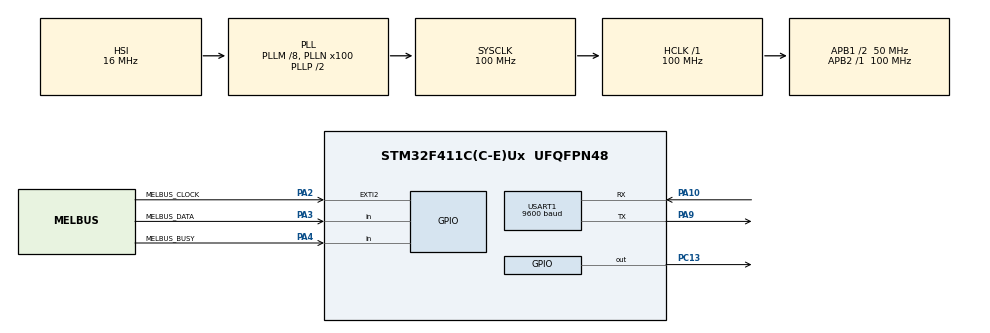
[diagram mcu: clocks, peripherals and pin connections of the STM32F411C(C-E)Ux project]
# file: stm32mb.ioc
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Dma.Request0=USART1_RX
Dma.Request1=USART1_TX
Dma.USART1_RX.0.Direction=DMA_PERIPH_TO_MEMORY
Dma.USART1_RX.0.FIFOMode=DMA_FIFOMODE_DISABLE
Dma.USART1_RX.0.Instance=DMA2_Stream2
Dma.USART1_RX.0.MemDataAlignment=DMA_MDATAALIGN_BYTE
Dma.USART1_RX.0.MemInc=DMA_MINC_ENABLE
Dma.USART1_RX.0.Mode=DMA_NORMAL
Dma.USART1_RX.0.PeriphDataAlignment=DMA_PDATAALIGN_BYTE
Dma.USART1_RX.0.PeriphInc=DMA_PINC_DISABLE
Dma.USART1_RX.0.Priority=DMA_PRIORITY_LOW
Dma.USART1_TX.1.Direction=DMA_MEMORY_TO_PERIPH
Dma.USART1_TX.1.FIFOMode=DMA_FIFOMODE_DISABLE
Dma.USART1_TX.1.Instance=DMA2_Stream7
Dma.USART1_TX.1.MemDataAlignment=DMA_MDATAALIGN_BYTE
Dma.USART1_TX.1.MemInc=DMA_MINC_ENABLE
Dma.USART1_TX.1.Mode=DMA_NORMAL
Dma.USART1_TX.1.PeriphDataAlignment=DMA_PDATAALIGN_BYTE
Dma.USART1_TX.1.PeriphInc=DMA_PINC_DISABLE
Dma.USART1_TX.1.Priority=DMA_PRIORITY_LOW
Mcu.Family=STM32F4
Mcu.Name=STM32F411C(C-E)Ux
Mcu.Package=UFQFPN48
NVIC.DMA2_Stream2_IRQn=true\:0\:0\:false\:false\:true\:false\:true\:true
NVIC.DMA2_Stream7_IRQn=true\:0\:0\:false\:false\:true\:false\:true\:true
NVIC.EXTI2_IRQn=true\:3\:0\:true\:true\:true\:1\:true\:true\:true
NVIC.PriorityGroup=NVIC_PRIORITYGROUP_4
NVIC.USART1_IRQn=true\:0\:0\:false\:false\:true\:true\:true\:true
PA10.Mode=Asynchronous
PA10.Signal=USART1_RX
PA13.Mode=Serial_Wire
PA13.Signal=SYS_JTMS-SWDIO
PA14.Mode=Serial_Wire
PA14.Signal=SYS_JTCK-SWCLK
PA2.GPIO_Label=MELBUS_CLOCK
PA2.GPIO_PuPd=GPIO_PULLUP
PA2.Signal=GPXTI2
PA3.GPIO_Label=MELBUS_DATA
PA3.GPIO_PuPd=GPIO_PULLUP
PA3.Signal=GPIO_Input
PA4.GPIO_Label=MELBUS_BUSY
PA4.GPIO_PuPd=GPIO_PULLUP
PA4.Signal=GPIO_Input
PA9.Mode=Asynchronous
PA9.Signal=USART1_TX
PB3.Signal=SYS_JTDO-SWO
PC13-ANTI_TAMP.GPIO_PuPd=GPIO_NOPULL
PC13-ANTI_TAMP.PinState=GPIO_PIN_SET
PC13-ANTI_TAMP.Signal=GPIO_Output
ProjectManager.HeapSize=0x200
ProjectManager.StackSize=0x400
ProjectManager.TargetToolchain=STM32CubeIDE
RCC.48MHZClocksFreq_Value=50000000
RCC.AHBFreq_Value=100000000
RCC.APB1CLKDivider=RCC_HCLK_DIV2
RCC.APB1Freq_Value=50000000
RCC.APB1TimFreq_Value=100000000
RCC.APB2Freq_Value=100000000
RCC.APB2TimFreq_Value=100000000
RCC.CortexFreq_Value=100000000
RCC.HCLKFreq_Value=100000000
RCC.HSE_VALUE=25000000
RCC.HSI_VALUE=16000000
RCC.LSE_VALUE=32768
RCC.PLLM=8
RCC.PLLN=100
RCC.SYSCLKFreq_VALUE=100000000
RCC.SYSCLKSource=RCC_SYSCLKSOURCE_PLLCLK
RCC.VCOOutputFreq_Value=200000000
USART1.BaudRate=9600
USART1.VirtualMode=VM_ASYNC
board=custom

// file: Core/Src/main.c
/* USER CODE BEGIN Header */
/**
 ******************************************************************************
 * @file           : main.c
 * @brief          : Main program body
 ******************************************************************************
 * @attention
 *
 * Copyright (c) 2023 STMicroelectronics.
 * All rights reserved.
 *
 * This software is licensed under terms that can be found in the LICENSE file
 * in the root directory of this software component.
 * If no LICENSE file comes with this software, it is provided AS-IS.
 *
 ******************************************************************************
 */
/* USER CODE END Header */
#include "main.h"

/* USER CODE BEGIN Includes */
#include "master.h"
#include "pins.h"
#include "delay.h"
#include "slave.h"
#include <string.h>
/* USER CODE END Includes */

UART_HandleTypeDef huart1;
DMA_HandleTypeDef hdma_usart1_rx;
DMA_HandleTypeDef hdma_usart1_tx;

void SystemClock_Config(void);
static void MX_GPIO_Init(void);
static void MX_DMA_Init(void);
static void MX_USART1_UART_Init(void);
static void MX_NVIC_Init(void);
/* USER CODE BEGIN PFP */
void fixText(char text[17], const char *input);
static uint8_t nextTrack(void);
static uint8_t prevTrack(void);
/* USER CODE END PFP */

/* USER CODE BEGIN 0 */
static uint8_t rx_buf[5];
static volatile bool bt_ok = false;
static volatile bool bt_powered = false;
static volatile bool bt_playing = false;
static volatile bool bt_connected = false;
static volatile byte melbus_ReceivedByte = 0;
static volatile byte melbus_Bitposition = 7;
static volatile bool byteIsRead = false;

enum {
	E_MRB_1,  // 0
	E_MI,     // 1
	E_SI,     // 2
	E_MRB_2,  // 3
	E_IGN_OFF, // 4
	E_MD_CIR, // 5
	E_MD_TIR, // 6
	E_MD_NXT, // 7
	E_MD_PRV, // 8
	E_MD_CHG, // 9
	E_MD_PUP, // 10
	E_MD_PDN, // 11
	E_MD_FFW, // 12
	E_MD_FRW, // 13
	E_MD_SCN, // 14
	E_MD_RND, // 15
	E_MD_NU,  // 16
	E_MD_RTR, // 17
	E_MD_RTR_2, // 18
	E_MD_RTR_3, // 19
	E_CDC_CIR, // 20
	E_CDC_TIR, // 21
	E_CDC_NXT, // 22
	E_CDC_PRV, // 23
	E_CDC_CHG, // 24
	E_CDC_PUP, // 25
	E_CDC_PDN, // 26
	E_CDC_FFW, // 27
	E_CDC_FRW, // 28
	E_CDC_SCN, // 29
	E_CDC_RND, // 30
	E_CDC_NU,  // 31
	E_LIST_MAX // handy entry which signifies the size of the command array
};
//This list can be quite long. We have approx 700 us between the received bytes.
const byte commands[E_LIST_MAX][8] = { [E_MRB_1] = MRB_1, // 0 now we are master and can send stuff (like text) to the display!
[E_MI] = MI,     // 1 main init
[E_SI] = SI,     // 2 sec init (00 1E ED respond 0xC5 !!)
[E_MRB_2] = MRB_2,  // 3 alternative master req bc
[E_IGN_OFF] = IGN_OFF, // 4
[E_MD_CIR] = MD_CIR, // 5
[E_MD_TIR] = MD_TIR, // 6
[E_MD_NXT] = MD_NXT, // 7
[E_MD_PRV] = MD_PRV, // 8
[E_MD_CHG] = MD_CHG, // 9
[E_MD_PUP] = MD_PUP, // 10
[E_MD_PDN] = MD_PDN, // 11
[E_MD_FFW] = MD_FFW, // 12
[E_MD_FRW] = MD_FRW, // 13
[E_MD_SCN] = MD_SCN, // 14
[E_MD_RND] = MD_RND, // 15
[E_MD_NU] = MD_NU,   // 16
[E_MD_RTR] = MD_RTR, // 17
[E_MD_RTR_2] = MD_RTR_2, // 18
[E_MD_RTR_3] = MD_RTR_3, // 19
[E_CDC_CIR] = CDC_CIR, // 20
[E_CDC_TIR] = CDC_TIR, // 21
[E_CDC_NXT] = CDC_NXT, // 22
[E_CDC_PRV] = CDC_PRV, // 23
[E_CDC_CHG] = CDC_CHG, // 24
[E_CDC_PUP] = CDC_PUP, // 25
[E_CDC_PDN] = CDC_PDN, // 26
[E_CDC_FFW] = CDC_FFW, // 27
[E_CDC_FRW] = CDC_FRW, // 28
[E_CDC_SCN] = CDC_SCN, // 29
[E_CDC_RND] = CDC_RND, // 30
[E_CDC_NU] = CDC_NU   // 31
		};

int __io_putchar(int ch) {
	// Write character to ITM ch.0
	ITM_SendChar(ch);
	return (ch);
}

/* USER CODE END 0 */

int main(void) {
	/* USER CODE BEGIN 1 */
	byte lastByte = 0;
	bool powerOn = true;
	long HWTicks = 0;      //age since last BUSY switch
	long ComTicks = 0;     //age since last received byte
	long ConnTicks = 0;    //age since last message to SIRIUS SAT
	long timeout = 1000000; //should be around 10-20 seconds
	long runOnce = 300000; //counts down on every received message from HU. Triggers when it is passing 1.
	long runPeriodically = 100000; //same as runOnce but resets after each countdown.
	byte matching[E_LIST_MAX]; //Keep track of every matching byte in the commands array
	byte tircount = 0;
	byte track = 1;
	byte md = 0;
	byte cd = 1;
	byte mdTrackInfo[] =
			{ 0x00, 0x02, 0x00, 0x00, 0x80, 0x99, 0x0C, 0xCC, 0xCC };
	byte mdCartridgeInfo[] = { 0x80, 0x00, 0x0F, 0x04, 0x00, 0x0F };
	byte cdcTrackInfo[] =
			{ 0x00, 0x02, 0x00, 0x01, 0x80, 0x01, 0xC7, 0x0A, 0x02 };
	byte cdcCartridgeInfo[] = { 0x00, 0xFC, 0xFF, 0x4A, 0xFC, 0xFF };
	bool textInit = false; // First MRB2 is to initialise sending text
	byte textHeader[] = { 0xFB, 0xD8, 0xFA, 0x00 }; // Send this as prefix to text
	byte textInitHeader[] = { 0xF9, 0xD8, 0xE1, 0x68, 0x00, 0x00, 0x40, 0x00,
			0x0C, 0xCC, 0xCC }; // Send this as reply to first MRB2
	bool reqMasterFlag = false; //set this to request master mode (and sendtext) at a proper time.
	union text_cmd text = { .raw = { 0 } };
	char row1[17];
	char row2[17];
	char row3[17];
	byte received = 0x0;
	byte rows = 0;
	/* USER CODE END 1 */

	/* MCU Configuration--------------------------------------------------------*/

	/* Reset of all peripherals, Initializes the Flash interface and the Systick. */
	HAL_Init();

	/* Configure the system clock */
	SystemClock_Config();

	/* USER CODE BEGIN SysInit */
	DWT_Delay_Init();
	/* USER CODE END SysInit */

	/* Initialize all configured peripherals */
	MX_GPIO_Init();
	MX_DMA_Init();
	MX_USART1_UART_Init();

	/* Initialize interrupts */
	MX_NVIC_Init();
	/* USER CODE BEGIN 2 */
	melbusInitReq();
	HAL_UART_Receive_DMA(&huart1, rx_buf, 4);
	HAL_UART_Transmit_DMA(&huart1, (uint8_t*) "AT+MV\r\n", 7);
	DELAY(100, ms);
	HAL_UART_Transmit_DMA(&huart1, (uint8_t*) "AT+MO\r\n", 7);
	/* USER CODE END 2 */

	/* Infinite loop */
	while (1) {

		/* USER CODE BEGIN 3 */
		bool busy = HAL_GPIO_ReadPin(GPIOA, MELBUS_BUSY_Pin);
		byte byteCounter = 1;
		byte melbus_log[99];
		HWTicks++;
		if (powerOn) {
			ComTicks++;
			ConnTicks++;
		} else {
			ComTicks = 1;
			ConnTicks = 1;
		}
		HAL_GPIO_WritePin(GPIOC, GPIO_PIN_13, busy);
		while (!busy) {
			HWTicks = 0;
			if (byteIsRead) {
				byteIsRead = false;
				lastByte = melbus_ReceivedByte;
				melbus_log[byteCounter - 1] = lastByte;
				ComTicks = 0; //reset age
				/* There is no way I'm touching this state/matching machine */
				for (byte cmd = 0; cmd < E_LIST_MAX; cmd++) {
					if (lastByte == commands[cmd][byteCounter]) {
						matching[cmd]++;
						if ((matching[cmd] == commands[cmd][0])
								&& (byteCounter == commands[cmd][0])) {
							ConnTicks = 0;  //reset age
							switch (cmd) {
							case E_MI: /* Intentional fall-through */
							case E_SI:
								// Init header on startup, only send it right after power up
								textInitHeader[3] = 0x68;
								textInitHeader[6] = 0x40;
								textInitHeader[7] = 0x0;
								memcpy(text.raw, textInitHeader,
										sizeof(textInitHeader));
								reqMasterFlag = true;
								textInit = true;
								while (HAL_GPIO_ReadPin(GPIOA, MELBUS_BUSY_Pin)
										== GPIO_PIN_RESET) {
									if (byteIsRead) {
										byteIsRead = false;
										received = melbus_ReceivedByte;
										/*
										 * Response ID of every base ID is base ID | 0x06.
										 * Just send MD and CDC ranges, because TV,DAB give quite a lot of noise on the MELBUS.
										 * It doesn't really impact anything but it makes the bus have a lot more traffic, which may be undesirable.
										 * It also goes completely haywire if you respond as every possible device.
										 * Guess some IDs are reserved?
										 */
										if (received > 0xD0 && received < 0xFF
												&& (((received & 0xF) == 0x3)
														|| ((received & 0xE)
																== 0x08))) {
											SendByteToMelbus(received | 0x06);
											received = 0x00;
										}
									}
								}
								break;
							case E_MRB_1: /* Intentional fall-through */
							case E_MRB_2:
								bool state = HAL_GPIO_ReadPin(GPIOA,
								MELBUS_BUSY_Pin);
								while (state == GPIO_PIN_RESET) {
									if (byteIsRead) {
										byteIsRead = false;
										if (melbus_ReceivedByte == MD_MASTER_ID) {
											SendByteToMelbus(MD_MASTER_ID);
											SendText(text, textInit);
											if (textInit) {
												textInit = false;
												memcpy(text.raw, textHeader,
														sizeof(textHeader));
												memcpy(text.text_cmd_st.footer,
														(uint8_t[] ) {
																		0x00,
																		0x80 },
														2); // TODO: Change (all) anonymous arrays to something that's defined
												memcpy(
														&text.raw[sizeof(textHeader)],
														(uint8_t[] ) {
																MD_TEXT_ROW_1,
																		0x02 },
														4);
												text.text_cmd_st.track = 0x99;
											}
											break;
										}
									}
									state = HAL_GPIO_ReadPin(GPIOA,
									MELBUS_BUSY_Pin);
								}
								break;
							case E_IGN_OFF:
								powerOn = false;
								break;
							case E_MD_CIR:
								SendCartridgeInfo(mdCartridgeInfo);
								break;
							case E_MD_TIR:
								tircount++;
								if (tircount > 5) {
									reqMasterFlag = true;
									tircount = 0;
								}
								SendTrackInfo(mdTrackInfo);
								break;
							case E_MD_NU:
								break;
							case E_MD_RTR_3:
								//text_requests = 0;
								memcpy(&text.raw[4], (uint8_t[] ) {
										MD_TEXT_ROW_3, 0x01 }, 4);
								if (rows < 3) {
									fixText(row3, " ");
									memcpy(text.text_cmd_st.payload, row3,
											sizeof(text.text_cmd_st.payload));
								}
								SendByteToMelbus(0x00);
								SendByteToMelbus(0x01);
								reqMasterFlag = true;
								break;
							case E_MD_RTR_2:
								//text_requests = 0;
								memcpy(&text.raw[4], (uint8_t[] ) { 0x03, 0x02,
												0x03, 0x01 }, 4);
								if (rows < 2) {
									fixText(row2, " ");
									memcpy(text.text_cmd_st.payload, row2,
											sizeof(text.text_cmd_st.payload));
								}
								SendByteToMelbus(0x00);
								SendByteToMelbus(0x01);
								reqMasterFlag = true;
								break;
							case E_MD_RTR:
								//text_requests = 0;
								memcpy(&text.raw[4], (uint8_t[] ) { 0x03, 0x01,
												0x03, 0x01 }, 4);
								memcpy(text.text_cmd_st.payload, row1,
										sizeof(text.text_cmd_st.payload));
								SendByteToMelbus(0x00);
								SendByteToMelbus(0x01);
								reqMasterFlag = true;
								break;
							case E_CDC_CIR:
								SendCartridgeInfo(cdcCartridgeInfo);
								break;
							case E_CDC_TIR:
								tircount++;
								if (tircount > 5) {
									reqMasterFlag = true;
									tircount = 0;
								}
								SendTrackInfo(cdcTrackInfo);
								break;
							case E_MD_NXT:
							case E_CDC_NXT:
								track = fixTrack(++track);
								if (cmd == E_CDC_CHG) {
									cdcTrackInfo[5] = track;
								} else {
									mdTrackInfo[5] = track;
								}
								if (nextTrack() > 1) {
									fixText(row1, "BT not connected!");
									memcpy(text.text_cmd_st.payload, row1,
											sizeof(text.text_cmd_st.payload));
								} else {
									fixText(row1, "BT playing!");
									memcpy(text.text_cmd_st.payload, row1,
											sizeof(text.text_cmd_st.payload));
								}
								SendByteToMelbus(0x00);
								break;
							case E_MD_PRV:
							case E_CDC_PRV:
								track = fixTrack(--track);
								if (cmd == E_CDC_CHG) {
									cdcTrackInfo[5] = track;
								} else {
									mdTrackInfo[5] = track;
								}
								if (prevTrack() > 1) {
									rows = 1;
									fixText(row1, "BT not connected!");
									memcpy(text.text_cmd_st.payload, row1,
											sizeof(text.text_cmd_st.payload));
								} else {
									rows = 1;
									fixText(row1, "BT playing!");
									memcpy(text.text_cmd_st.payload, row1,
											sizeof(text.text_cmd_st.payload));
								}
								SendByteToMelbus(0x00);
								break;
							case E_MD_CHG:
							case E_CDC_CHG:
								while (HAL_GPIO_ReadPin(GPIOA, MELBUS_BUSY_Pin)
										== GPIO_PIN_RESET) {
									if (byteIsRead) {
										byteIsRead = false;
										changeCD(&cd, &track,
												melbus_ReceivedByte);
										SendByteToMelbus(0x00);
									}
								}
								if (cmd == E_CDC_CHG) {
									if (cd > 10) {
										cd = 1;
									}
									if (cd < 1) {
										cd = 10;
									}
									cdcTrackInfo[3] = cd;
									cdcTrackInfo[5] = track;
								} else {
									if (md > 4) {
										md = 0;
									}
									mdTrackInfo[3] = md;
									mdTrackInfo[5] = track;
								}
								break;
							case E_CDC_FFW: /* Intentional fall-through */
							case E_MD_FFW: /* Intentional fall-through */
								HAL_UART_Transmit_DMA(&huart1,
										(uint8_t*) "AT+MF\r\n", 7);
								SendByteToMelbus(0x00);
								break;
							case E_MD_FRW: /* Intentional fall-through */
							case E_CDC_FRW: /* Intentional fall-through */
								HAL_UART_Transmit_DMA(&huart1,
										(uint8_t*) "AT+MH\r\n", 7);
								SendByteToMelbus(0x00);
								break;
							case E_MD_PUP: /* Intentional fall-through */
								mdTrackInfo[1] = TRACK_STARTBYTE;
								mdTrackInfo[6] = mdTrackInfo[7] =
										mdTrackInfo[8] = 0;
								textInitHeader[3] = 0x68;
								textInitHeader[6] = 0x40;
								textInitHeader[7] = 0x0;
							case E_MD_PDN: /* Intentional fall-through */
								if (cmd == E_MD_PDN) {
									mdTrackInfo[1] = TRACK_STOPBYTE;
									mdTrackInfo[6] = 0xC;
									mdTrackInfo[7] = mdTrackInfo[8] = 0xCC;
									textInitHeader[3] = TRACK_STOPBYTE;
									textInitHeader[6] = 0x80;
									textInitHeader[7] = 0x99;
									/* Send "closing" text header on power down,
									 * not sure what the reasons or implications are though
									 * imiv does this at least...
									 * */
								}
								reqMasterFlag = true;
								// Only send init on power up/down
								textInit = true;
							case E_CDC_PUP: /* Intentional fall-through */
								cdcTrackInfo[1] = cdcTrackInfo[8] =
								TRACK_STARTBYTE;
								// CDC also sends some data with master mode, no idea why, but it works without.
							case E_CDC_PDN: /* Intentional fall-through */
								if (cmd == E_CDC_PDN) {
									cdcTrackInfo[1] = cdcTrackInfo[8] =
									TRACK_STOPBYTE;
								}
							case E_MD_SCN: /* Intentional fall-through */
							case E_MD_RND: /* Intentional fall-through */

							case E_CDC_SCN: /* Intentional fall-through */
							case E_CDC_RND:
								SendByteToMelbus(0x00);
								break;
							case E_CDC_NU:
								break;
							}
							break;
						}
					}
				}
				byteCounter++;
			}
			busy = HAL_GPIO_ReadPin(GPIOA, MELBUS_BUSY_Pin);
		}
		if (ComTicks == 0 && ConnTicks != 0) { //print unmatched messages (unknown)
			for (byte b = 0; b < byteCounter - 1; b++) {
				printf("%02X  ", melbus_log[b]);
			}
			printf("\r\n");
		}
		if (ComTicks > timeout) {
			ComTicks = 0;
			melbusInitReq();
		}
		if (HWTicks > timeout) {
			HWTicks = 0;
		}
		melbus_Bitposition = 7;
		for (byte i = 0; i < E_LIST_MAX; i++) {
			matching[i] = 0;
		}
		if ((runOnce == 1) || reqMasterFlag) {
			reqMaster();
			reqMasterFlag = false;
		}

		if (runPeriodically == 0) {
			runPeriodically = 100000;
			//textRow = 2;
			reqMaster();
		}
	}
	/* USER CODE END 3 */
}

void SystemClock_Config(void) {
	RCC_OscInitTypeDef RCC_OscInitStruct = { 0 };
	RCC_ClkInitTypeDef RCC_ClkInitStruct = { 0 };

	/** Configure the main internal regulator output voltage
	 */
	__HAL_RCC_PWR_CLK_ENABLE();
	__HAL_PWR_VOLTAGESCALING_CONFIG(PWR_REGULATOR_VOLTAGE_SCALE1);

	/** Initializes the RCC Oscillators according to the specified parameters
	 * in the RCC_OscInitTypeDef structure.
	 */
	RCC_OscInitStruct.OscillatorType = RCC_OSCILLATORTYPE_HSI;
	RCC_OscInitStruct.HSIState = RCC_HSI_ON;
	RCC_OscInitStruct.HSICalibrationValue = RCC_HSICALIBRATION_DEFAULT;
	RCC_OscInitStruct.PLL.PLLState = RCC_PLL_ON;
	RCC_OscInitStruct.PLL.PLLSource = RCC_PLLSOURCE_HSI;
	RCC_OscInitStruct.PLL.PLLM = 8;
	RCC_OscInitStruct.PLL.PLLN = 100;
	RCC_OscInitStruct.PLL.PLLP = RCC_PLLP_DIV2;
	RCC_OscInitStruct.PLL.PLLQ = 4;
	if (HAL_RCC_OscConfig(&RCC_OscInitStruct) != HAL_OK) {
		Error_Handler();
	}

	/** Initializes the CPU, AHB and APB buses clocks
	 */
	RCC_ClkInitStruct.ClockType = RCC_CLOCKTYPE_HCLK | RCC_CLOCKTYPE_SYSCLK
			| RCC_CLOCKTYPE_PCLK1 | RCC_CLOCKTYPE_PCLK2;
	RCC_ClkInitStruct.SYSCLKSource = RCC_SYSCLKSOURCE_PLLCLK;
	RCC_ClkInitStruct.AHBCLKDivider = RCC_SYSCLK_DIV1;
	RCC_ClkInitStruct.APB1CLKDivider = RCC_HCLK_DIV2;
	RCC_ClkInitStruct.APB2CLKDivider = RCC_HCLK_DIV1;

	if (HAL_RCC_ClockConfig(&RCC_ClkInitStruct, FLASH_LATENCY_3) != HAL_OK) {
		Error_Handler();
	}
}

/**
 * @brief NVIC Configuration.
 * @retval None
 */
static void MX_NVIC_Init(void) {
	/* EXTI2_IRQn interrupt configuration */
	HAL_NVIC_SetPriority(EXTI2_IRQn, 3, 0);
	HAL_NVIC_EnableIRQ(EXTI2_IRQn);
}

static void MX_USART1_UART_Init(void) {

	huart1.Instance = USART1;
	huart1.Init.BaudRate = 9600;
	huart1.Init.WordLength = UART_WORDLENGTH_8B;
	huart1.Init.StopBits = UART_STOPBITS_1;
	huart1.Init.Parity = UART_PARITY_NONE;
	huart1.Init.Mode = UART_MODE_TX_RX;
	huart1.Init.HwFlowCtl = UART_HWCONTROL_NONE;
	huart1.Init.OverSampling = UART_OVERSAMPLING_16;
	if (HAL_UART_Init(&huart1) != HAL_OK) {
		Error_Handler();
	}

}

static void MX_DMA_Init(void) {

	/* DMA controller clock enable */
	__HAL_RCC_DMA2_CLK_ENABLE();

	/* DMA interrupt init */
	/* DMA2_Stream2_IRQn interrupt configuration */
	HAL_NVIC_SetPriority(DMA2_Stream2_IRQn, 0, 0);
	HAL_NVIC_EnableIRQ(DMA2_Stream2_IRQn);
	/* DMA2_Stream7_IRQn interrupt configuration */
	HAL_NVIC_SetPriority(DMA2_Stream7_IRQn, 0, 0);
	HAL_NVIC_EnableIRQ(DMA2_Stream7_IRQn);

}

static void MX_GPIO_Init(void) {
	GPIO_InitTypeDef GPIO_InitStruct = { 0 };

	/* GPIO Ports Clock Enable */
	__HAL_RCC_GPIOC_CLK_ENABLE();
	__HAL_RCC_GPIOA_CLK_ENABLE();
	__HAL_RCC_GPIOB_CLK_ENABLE();

	/*Configure GPIO pin Output Level */
	HAL_GPIO_WritePin(GPIOC, GPIO_PIN_13, GPIO_PIN_SET);

	/*Configure GPIO pin : PC13 */
	GPIO_InitStruct.Pin = GPIO_PIN_13;
	GPIO_InitStruct.Mode = GPIO_MODE_OUTPUT_PP;
	GPIO_InitStruct.Pull = GPIO_NOPULL;
	GPIO_InitStruct.Speed = GPIO_SPEED_FREQ_LOW;
	HAL_GPIO_Init(GPIOC, &GPIO_InitStruct);

	/*Configure GPIO pin : MELBUS_CLOCK_Pin */
	GPIO_InitStruct.Pin = MELBUS_CLOCK_Pin;
	GPIO_InitStruct.Mode = GPIO_MODE_IT_RISING;
	GPIO_InitStruct.Pull = GPIO_PULLUP;
	HAL_GPIO_Init(MELBUS_CLOCK_GPIO_Port, &GPIO_InitStruct);

	/*Configure GPIO pins : MELBUS_DATA_Pin MELBUS_BUSY_Pin */
	GPIO_InitStruct.Pin = MELBUS_DATA_Pin | MELBUS_BUSY_Pin;
	GPIO_InitStruct.Mode = GPIO_MODE_INPUT;
	GPIO_InitStruct.Pull = GPIO_PULLUP;
	HAL_GPIO_Init(GPIOA, &GPIO_InitStruct);

}

/* USER CODE BEGIN 4 */

void fixText(char text[17], const char *input) {
	size_t inputLength = strlen(input);

	if (inputLength >= 16) {
		strncpy(text, input, 16); // Copy up to 16 characters
	} else {
		strcpy(text, input);      // Copy the input string
		for (size_t i = inputLength; i < 16; ++i) {
			text[i] = ' ';        // Pad with spaces
		}
	}
	text[16] = '\0';
}

void resetBitPosition(void) {
	melbus_Bitposition = 8;
}

void HAL_UART_RxCpltCallback(UART_HandleTypeDef *huart) {
	rx_buf[4] = '\0';
	HAL_UART_Receive_DMA(&huart1, rx_buf, 4);
	bt_powered = true;
	switch (rx_buf[0]) {
	case 'O':
		switch (rx_buf[1]) {
		case 'N':
		case 'K':
			bt_ok = true;
			break;
		}
		break;
	case 'C':
		switch (rx_buf[1]) {
		case '0':
			bt_connected = false;
			break;
		case '1':
			bt_connected = true;
			break;
		}
		break;
	case 'M':
		bt_powered = true;
		switch (rx_buf[1]) {
		case 'B':
			bt_playing = true;
			break;
		case 'A':
			bt_playing = false;
			break;
		case '0':
			bt_connected = false;
			break;
		}
		break;
	case 'I':
		switch (rx_buf[1]) {
		case 'I':
			bt_connected = true;
			break;
		case 'A':
			bt_connected = false;
		default:
			printf("command received: %s\r\n", rx_buf);
		}
		break;
	case 'E':
		if (rx_buf[1] == 'R') {
			bt_ok = false;
		}
		break;
	default:
		printf("unrecognised command received: %s\r\n", rx_buf);
		break;
	}
	printf("command received: %s\r\n", rx_buf);
}

void HAL_GPIO_EXTI_Callback(uint16_t pin) {
	if (pin == MELBUS_CLOCK_Pin) {
		//Read status of Datapin and set status of current bit in recv_byte
		if (HAL_GPIO_ReadPin(GPIOA, MELBUS_DATA_Pin) == GPIO_PIN_SET) {
			melbus_ReceivedByte |= (1 << melbus_Bitposition); //set bit nr [melbus_Bitposition] to "1"
		} else {
			melbus_ReceivedByte &= ~(1 << melbus_Bitposition); //set bit nr [melbus_Bitposition] to "0"
		}

		//if all the bits in the byte are read:
		if (melbus_Bitposition == 0) {
			//set bool to true to evaluate the bytes in main loop
			byteIsRead = true;

			//Reset bitcount to first bit in byte. ALSO do this when toggling clock from IT to input/output
			melbus_Bitposition = 7;
		} else {
			//set bitnumber to address of next bit in byte
			melbus_Bitposition--;
		}
	}
}

static uint8_t nextTrack(void) {
	if (bt_powered && bt_connected && bt_playing) {
		HAL_UART_Transmit_DMA(&huart1, (uint8_t*) "AT+MD\r\n", 7);
		return 0;
	} else if (!bt_playing && bt_powered && bt_connected) {
		HAL_UART_Transmit_DMA(&huart1, (uint8_t*) "AT+MA\r\n", 7);
		return 1;
	} else if (!bt_powered || !bt_connected) {
		HAL_UART_Transmit_DMA(&huart1, (uint8_t*) "AT+MO\r\n", 7);
	}
	return 2;
}

static uint8_t prevTrack(void) {
	if (bt_powered && bt_connected && bt_playing) {
		HAL_UART_Transmit_DMA(&huart1, (uint8_t*) "AT+ME\r\n", 7);
		return 0;
	} else if (!bt_playing && bt_powered && bt_connected) {
		HAL_UART_Transmit_DMA(&huart1, (uint8_t*) "AT+MA\r\n", 7);
		return 1;
	} else if (!bt_powered || !bt_connected) {
		HAL_UART_Transmit_DMA(&huart1, (uint8_t*) "AT+MO\r\n", 7);
	}
	return 2;
}

/* USER CODE END 4 */

void Error_Handler(void) {
	__disable_irq();
	while (1) {
	}
}
